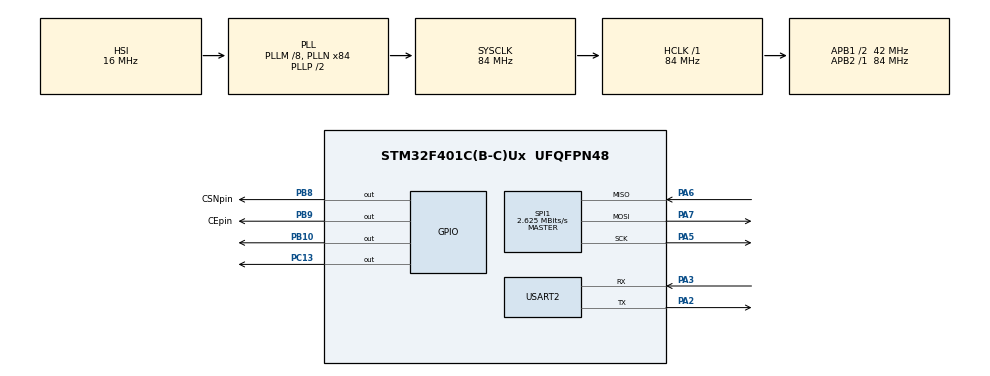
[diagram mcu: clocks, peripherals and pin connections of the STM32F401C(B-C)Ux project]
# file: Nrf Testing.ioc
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Mcu.Family=STM32F4
Mcu.Name=STM32F401C(B-C)Ux
Mcu.Package=UFQFPN48
NVIC.PriorityGroup=NVIC_PRIORITYGROUP_4
PA13.Mode=Serial_Wire
PA13.Signal=SYS_JTMS-SWDIO
PA14.Mode=Serial_Wire
PA14.Signal=SYS_JTCK-SWCLK
PA2.Mode=Asynchronous
PA2.Signal=USART2_TX
PA3.Mode=Asynchronous
PA3.Signal=USART2_RX
PA5.Mode=Full_Duplex_Master
PA5.Signal=SPI1_SCK
PA6.Mode=Full_Duplex_Master
PA6.Signal=SPI1_MISO
PA7.Mode=Full_Duplex_Master
PA7.Signal=SPI1_MOSI
PB10.Signal=GPIO_Output
PB8.GPIO_Label=CSNpin
PB8.Signal=GPIO_Output
PB9.GPIO_Label=CEpin
PB9.Signal=GPIO_Output
PC13-ANTI_TAMP.Signal=GPIO_Output
PH0\ -\ OSC_IN.Mode=HSE-External-Oscillator
PH0\ -\ OSC_IN.Signal=RCC_OSC_IN
PH1\ -\ OSC_OUT.Mode=HSE-External-Oscillator
PH1\ -\ OSC_OUT.Signal=RCC_OSC_OUT
ProjectManager.HeapSize=0x200
ProjectManager.StackSize=0x400
ProjectManager.TargetToolchain=STM32CubeIDE
RCC.48MHZClocksFreq_Value=42000000
RCC.AHBFreq_Value=84000000
RCC.APB1CLKDivider=RCC_HCLK_DIV2
RCC.APB1Freq_Value=42000000
RCC.APB1TimFreq_Value=84000000
RCC.APB2Freq_Value=84000000
RCC.APB2TimFreq_Value=84000000
RCC.CortexFreq_Value=84000000
RCC.HCLKFreq_Value=84000000
RCC.HSE_VALUE=25000000
RCC.HSI_VALUE=16000000
RCC.LSE_VALUE=32768
RCC.PLLM=8
RCC.PLLN=84
RCC.SYSCLKFreq_VALUE=84000000
RCC.SYSCLKSource=RCC_SYSCLKSOURCE_PLLCLK
RCC.VCOOutputFreq_Value=168000000
SPI1.BaudRatePrescaler=SPI_BAUDRATEPRESCALER_32
SPI1.CalculateBaudRate=2.625 MBits/s
SPI1.Direction=SPI_DIRECTION_2LINES
SPI1.Mode=SPI_MODE_MASTER
SPI1.VirtualType=VM_MASTER
USART2.VirtualMode=VM_ASYNC
board=custom

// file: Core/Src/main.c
/* USER CODE BEGIN Header */
/**
  ******************************************************************************
  * @file           : main.c
  * @brief          : Main program body
  ******************************************************************************
  * @attention
  *
  * Copyright (c) 2025 STMicroelectronics.
  * All rights reserved.
  *
  * This software is licensed under terms that can be found in the LICENSE file
  * in the root directory of this software component.
  * If no LICENSE file comes with this software, it is provided AS-IS.
  *
  ******************************************************************************
  */
/* USER CODE END Header */
#include "main.h"

/* USER CODE BEGIN Includes */
#include "stm32f4xx_hal.h"
#include "MY_NRF24.h"
#include "stdio.h"
/* USER CODE END Includes */

SPI_HandleTypeDef hspi1;

UART_HandleTypeDef huart2;

void SystemClock_Config(void);
static void MX_GPIO_Init(void);
static void MX_SPI1_Init(void);
static void MX_USART2_UART_Init(void);

/* USER CODE BEGIN 0 */
uint64_t TxpipeAddrs = 0x11223344AA;
char myTxData[32] = "Fuck my life!!";

/* USER CODE END 0 */

int main(void)
{

  /* MCU Configuration--------------------------------------------------------*/

  /* Reset of all peripherals, Initializes the Flash interface and the Systick. */
  HAL_Init();

  /* Configure the system clock */
  SystemClock_Config();

  /* Initialize all configured peripherals */
  MX_GPIO_Init();
  MX_SPI1_Init();
  MX_USART2_UART_Init();
  /* USER CODE BEGIN 2 */

  NRF24_begin(GPIOB, CSNpin_Pin, CEpin_Pin, hspi1);
  nrf24_DebugUART_Init(huart2);
  printRadioSettings();

  NRF24_stopListening();
  NRF24_openWritingPipe(TxpipeAddrs);
  NRF24_setAutoAck(false);
  NRF24_setChannel(52);
  NRF24_setPayloadSize(32);
  /* USER CODE END 2 */

  /* Infinite loop */
  while (1)
  {

    /* USER CODE BEGIN 3 */
	  if(NRF24_write(myTxData, sizeof(myTxData)))
	  {
		  HAL_GPIO_WritePin(GPIOC, GPIO_PIN_13, SET);
			HAL_UART_Transmit(&huart2, (uint8_t *)"Transmitted Successfully\r\n", strlen("Transmitted Successfully\r\n"), 10);
			HAL_Delay(1000);
	  }
	 // NRF24_write(myTxData, 32);
	  else{
		  HAL_GPIO_WritePin(GPIOC, GPIO_PIN_13, RESET);

	  }

  }
  /* USER CODE END 3 */
}

void SystemClock_Config(void)
{
  RCC_OscInitTypeDef RCC_OscInitStruct = {0};
  RCC_ClkInitTypeDef RCC_ClkInitStruct = {0};

  /** Configure the main internal regulator output voltage
  */
  __HAL_RCC_PWR_CLK_ENABLE();
  __HAL_PWR_VOLTAGESCALING_CONFIG(PWR_REGULATOR_VOLTAGE_SCALE2);

  /** Initializes the RCC Oscillators according to the specified parameters
  * in the RCC_OscInitTypeDef structure.
  */
  RCC_OscInitStruct.OscillatorType = RCC_OSCILLATORTYPE_HSI;
  RCC_OscInitStruct.HSIState = RCC_HSI_ON;
  RCC_OscInitStruct.HSICalibrationValue = RCC_HSICALIBRATION_DEFAULT;
  RCC_OscInitStruct.PLL.PLLState = RCC_PLL_ON;
  RCC_OscInitStruct.PLL.PLLSource = RCC_PLLSOURCE_HSI;
  RCC_OscInitStruct.PLL.PLLM = 8;
  RCC_OscInitStruct.PLL.PLLN = 84;
  RCC_OscInitStruct.PLL.PLLP = RCC_PLLP_DIV2;
  RCC_OscInitStruct.PLL.PLLQ = 4;
  if (HAL_RCC_OscConfig(&RCC_OscInitStruct) != HAL_OK)
  {
    Error_Handler();
  }

  /** Initializes the CPU, AHB and APB buses clocks
  */
  RCC_ClkInitStruct.ClockType = RCC_CLOCKTYPE_HCLK|RCC_CLOCKTYPE_SYSCLK
                              |RCC_CLOCKTYPE_PCLK1|RCC_CLOCKTYPE_PCLK2;
  RCC_ClkInitStruct.SYSCLKSource = RCC_SYSCLKSOURCE_PLLCLK;
  RCC_ClkInitStruct.AHBCLKDivider = RCC_SYSCLK_DIV1;
  RCC_ClkInitStruct.APB1CLKDivider = RCC_HCLK_DIV2;
  RCC_ClkInitStruct.APB2CLKDivider = RCC_HCLK_DIV1;

  if (HAL_RCC_ClockConfig(&RCC_ClkInitStruct, FLASH_LATENCY_2) != HAL_OK)
  {
    Error_Handler();
  }
}

static void MX_SPI1_Init(void)
{

  /* SPI1 parameter configuration*/
  hspi1.Instance = SPI1;
  hspi1.Init.Mode = SPI_MODE_MASTER;
  hspi1.Init.Direction = SPI_DIRECTION_2LINES;
  hspi1.Init.DataSize = SPI_DATASIZE_8BIT;
  hspi1.Init.CLKPolarity = SPI_POLARITY_LOW;
  hspi1.Init.CLKPhase = SPI_PHASE_1EDGE;
  hspi1.Init.NSS = SPI_NSS_SOFT;
  hspi1.Init.BaudRatePrescaler = SPI_BAUDRATEPRESCALER_32;
  hspi1.Init.FirstBit = SPI_FIRSTBIT_MSB;
  hspi1.Init.TIMode = SPI_TIMODE_DISABLE;
  hspi1.Init.CRCCalculation = SPI_CRCCALCULATION_DISABLE;
  hspi1.Init.CRCPolynomial = 10;
  if (HAL_SPI_Init(&hspi1) != HAL_OK)
  {
    Error_Handler();
  }

}

static void MX_USART2_UART_Init(void)
{

  huart2.Instance = USART2;
  huart2.Init.BaudRate = 115200;
  huart2.Init.WordLength = UART_WORDLENGTH_8B;
  huart2.Init.StopBits = UART_STOPBITS_1;
  huart2.Init.Parity = UART_PARITY_NONE;
  huart2.Init.Mode = UART_MODE_TX_RX;
  huart2.Init.HwFlowCtl = UART_HWCONTROL_NONE;
  huart2.Init.OverSampling = UART_OVERSAMPLING_16;
  if (HAL_UART_Init(&huart2) != HAL_OK)
  {
    Error_Handler();
  }

}

static void MX_GPIO_Init(void)
{
  GPIO_InitTypeDef GPIO_InitStruct = {0};

  /* GPIO Ports Clock Enable */
  __HAL_RCC_GPIOC_CLK_ENABLE();
  __HAL_RCC_GPIOH_CLK_ENABLE();
  __HAL_RCC_GPIOA_CLK_ENABLE();
  __HAL_RCC_GPIOB_CLK_ENABLE();

  /*Configure GPIO pin Output Level */
  HAL_GPIO_WritePin(GPIOC, GPIO_PIN_13, GPIO_PIN_RESET);

  /*Configure GPIO pin Output Level */
  HAL_GPIO_WritePin(GPIOB, GPIO_PIN_10|CSNpin_Pin|CEpin_Pin, GPIO_PIN_RESET);

  /*Configure GPIO pin : PC13 */
  GPIO_InitStruct.Pin = GPIO_PIN_13;
  GPIO_InitStruct.Mode = GPIO_MODE_OUTPUT_PP;
  GPIO_InitStruct.Pull = GPIO_NOPULL;
  GPIO_InitStruct.Speed = GPIO_SPEED_FREQ_LOW;
  HAL_GPIO_Init(GPIOC, &GPIO_InitStruct);

  /*Configure GPIO pins : PB10 CSNpin_Pin CEpin_Pin */
  GPIO_InitStruct.Pin = GPIO_PIN_10|CSNpin_Pin|CEpin_Pin;
  GPIO_InitStruct.Mode = GPIO_MODE_OUTPUT_PP;
  GPIO_InitStruct.Pull = GPIO_NOPULL;
  GPIO_InitStruct.Speed = GPIO_SPEED_FREQ_LOW;
  HAL_GPIO_Init(GPIOB, &GPIO_InitStruct);

}

void Error_Handler(void)
{
  __disable_irq();
  while (1)
  {
  }
}
